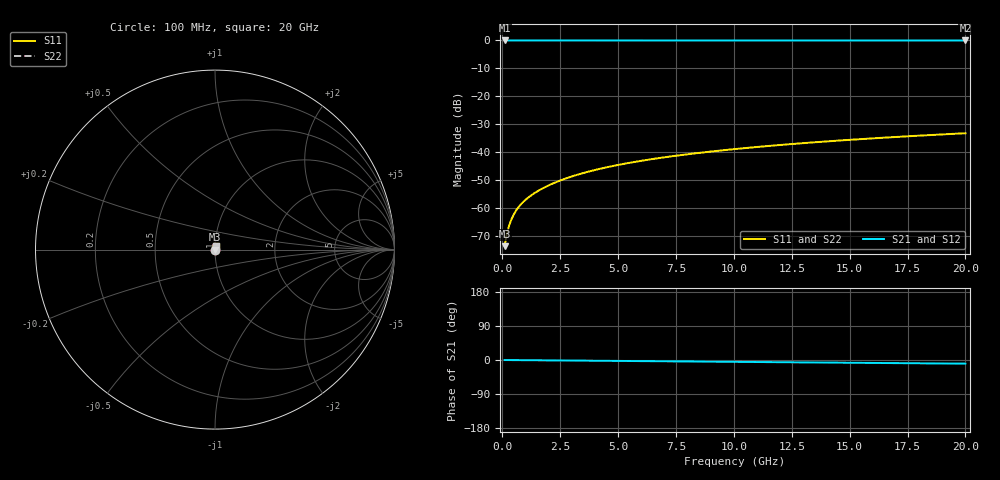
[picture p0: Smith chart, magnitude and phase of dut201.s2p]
! Touchstone file exported from HFSS 2026.1.0
!  File:  C:/ffzhzh/LocalFiles/Ansys_Project_Files/temp_train_TSV_201_1782991769_6248.aedt
!  Generated:  07:31:06 PM Jul  2, 2026
!  Design:  TSV
!  Project:  temp_train_TSV_201_1782991769_6248
! Variables:
!  h_bsmrdl = 2um
!  h_ox = 20um
!  h_rdl = 5um
!  h_sub = 96.64um
!  h_tmrdl = 5um
!  h_tsv = 96.64um
!  h_via = 3um
!  l_bsmrdl = 300um
!  l_sub = 421um
!  l_tmrdl = 200um
!  m_sub = 200um
!  pitch = 49.42um
!  r_tsv = 10.5um
!  s_tmrdl = 10um
!  w_bsmrdl = 18um
!  w_sub = 500um
!  w_tmrdl = 12um
!  x_tsv_center1 = 206um
!  x_tsv_center2 = 524um
!  x_tsv_center3 = 736um
!  x_tsv_center4 = 1054um
!  x_tsv_center5 = 1266um
!  x_tsv_center6 = 1584um
# GHz S MA R 50.000000
! Terminal data exported
! Port[1] = TSV1_1_T1
! Port[2] = TSV1_1_T2
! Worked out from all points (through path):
!   200 points, 100 MHz to 20 GHz, reference 50 ohm
!   highest |S21| = 0.00 dB at 100 MHz (marker M1); lowest = 0.0 dB at 20 GHz (marker M2)
!   group delay of S21, straight-line fit = 1.34 ps
!   lowest |S11| = -73.6 dB at 100 MHz (marker M3), VSWR 1.00, Z = 50 + j0.0158 ohm
!   |S11| at or under -10 dB: start of sweep to end of sweep
!   |S22| runs from -73.6 to -33.2 dB; largest |S21 - S12| = 5.5e-15
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0.1  0.0002078 49.4  0.9999 -0.1  0.9999 -0.1  0.0002078 49.4
! Gamma 0 0 0 0
! Port Impedance 50 0 50 0
0.2  0.0003462 64.6  0.9999 -0.1  0.9999 -0.1  0.0003462 64.6
0.3  0.0004922 69.9  0.9998 -0.2  0.9998 -0.2  0.0004922 69.9
0.4  0.0006357 72.2  0.9998 -0.2  0.9998 -0.2  0.0006357 72.2
0.5  0.0007741 73.4  0.9998 -0.3  0.9998 -0.3  0.0007741 73.4
0.6  0.0009073 74.0  0.9998 -0.3  0.9998 -0.3  0.0009073 74.0
0.7  0.001036 74.5  0.9997 -0.4  0.9997 -0.4  0.001036 74.5
0.8  0.00116 74.9  0.9997 -0.4  0.9997 -0.4  0.00116 74.9
1  0.0014 75.6  0.9997 -0.5  0.9997 -0.5  0.0014 75.6
1.4  0.001863 76.9  0.9996 -0.7  0.9996 -0.7  0.001863 76.9
1.7  0.002204 77.8  0.9996 -0.8  0.9996 -0.8  0.002204 77.8
2  0.002544 78.5  0.9995 -1.0  0.9995 -1.0  0.002544 78.5
2.7  0.003337 79.6  0.9995 -1.3  0.9995 -1.3  0.003337 79.6
3.5  0.004239 80.2  0.9994 -1.7  0.9994 -1.7  0.004239 80.2
4.2  0.005023 80.5  0.9993 -2.0  0.9993 -2.0  0.005023 80.5
5  0.00591 80.7  0.9993 -2.4  0.9993 -2.4  0.00591 80.6
6.8  0.007882 80.6  0.9991 -3.3  0.9991 -3.3  0.007882 80.6
8.3  0.009505 80.4  0.999 -4.0  0.999 -4.0  0.009505 80.4
10.1  0.01144 80.0  0.9989 -4.9  0.9989 -4.9  0.01144 80.0
13.4  0.01495 79.0  0.9987 -6.5  0.9987 -6.5  0.01495 79.0
16.7  0.01842 77.9  0.9985 -8.1  0.9985 -8.1  0.01842 77.9
20  0.02184 76.6  0.9983 -9.7  0.9983 -9.7  0.02184 76.6
